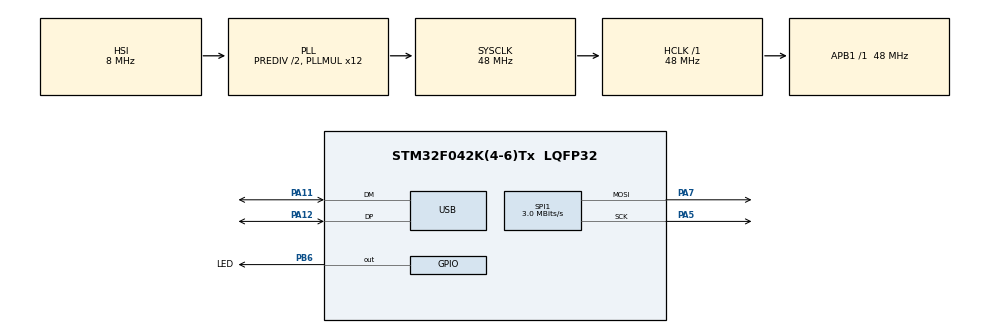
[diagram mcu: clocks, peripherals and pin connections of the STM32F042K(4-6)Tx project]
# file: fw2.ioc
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Mcu.Family=STM32F0
Mcu.Name=STM32F042K(4-6)Tx
Mcu.Package=LQFP32
NVIC.SPI1_IRQn=true\:0\:0\:false\:false\:true\:true\:true\:true
NVIC.TIM2_IRQn=true\:0\:0\:false\:false\:true\:true\:true\:true
NVIC.USB_IRQn=true\:0\:0\:false\:false\:true\:false\:true\:true
PA11.Mode=Device
PA11.Signal=USB_DM
PA12.Mode=Device
PA12.Signal=USB_DP
PA13.Mode=Serial_Wire
PA13.Signal=SYS_SWDIO
PA14.Mode=Serial_Wire
PA14.Signal=SYS_SWCLK
PA5.Mode=TX_Only_Simplex_Unidirect_Master
PA5.Signal=SPI1_SCK
PA7.Mode=TX_Only_Simplex_Unidirect_Master
PA7.Signal=SPI1_MOSI
PB6.GPIO_Label=LED
PB6.Signal=GPIO_Output
ProjectManager.HeapSize=0x400
ProjectManager.StackSize=0x100
ProjectManager.TargetToolchain=Makefile
RCC.AHBFreq_Value=48000000
RCC.APB1Freq_Value=48000000
RCC.APB1TimFreq_Value=48000000
RCC.HCLKFreq_Value=48000000
RCC.PLLDivider=RCC_PREDIV_DIV2
RCC.PLLMUL=RCC_PLL_MUL12
RCC.SYSCLKFreq_VALUE=48000000
RCC.SYSCLKSource=RCC_SYSCLKSOURCE_PLLCLK
RCC.USBFreq_Value=48000000
SPI1.BaudRatePrescaler=SPI_BAUDRATEPRESCALER_16
SPI1.CalculateBaudRate=3.0 MBits/s
SPI1.DataSize=SPI_DATASIZE_8BIT
SPI1.Direction=SPI_DIRECTION_2LINES
SPI1.Mode=SPI_MODE_MASTER
SPI1.VirtualType=VM_MASTER
TIM2.Period=1500
TIM2.Prescaler=999
USB.low_power_enable=DISABLE
USB.lpm_enable=ENABLE
USB_DEVICE.APP_RX_DATA_SIZE=550
USB_DEVICE.APP_TX_DATA_SIZE=100
USB_DEVICE.CLASS_NAME_FS=CDC
USB_DEVICE.MANUFACTURER_STRING=Steinmetz
USB_DEVICE.PID_CDC_FS=65262
USB_DEVICE.PRODUCT_STRING_CDC_FS=Steinmetz
USB_DEVICE.USBD_DEBUG_LEVEL=3
USB_DEVICE.USBD_MAX_NUM_INTERFACES=2
USB_DEVICE.USBD_MAX_STR_DESC_SIZ=100
USB_DEVICE.USBD_SELF_POWERED=0
USB_DEVICE.VirtualMode=Cdc
USB_DEVICE.VirtualModeFS=Cdc_FS
VP_RCC_USB.Mode=CRS SYNC Source USB
VP_TIM2_VS_ClockSourceINT.Mode=Internal
VP_USB_DEVICE_VS_USB_DEVICE_CDC_FS.Mode=CDC_FS
board=custom

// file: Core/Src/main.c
/* USER CODE BEGIN Header */
/**
  ******************************************************************************
  * @file           : main.c
  * @brief          : Main program body
  ******************************************************************************
  * @attention
  *
  * Copyright (c) 2024 STMicroelectronics.
  * All rights reserved.
  *
  * This software is licensed under terms that can be found in the LICENSE file
  * in the root directory of this software component.
  * If no LICENSE file comes with this software, it is provided AS-IS.
  *
  ******************************************************************************
  */
/* USER CODE END Header */
#include "main.h"
#include "usb_device.h"

/* USER CODE BEGIN Includes */
#include "ws2811.h"
#include "usbd_cdc_if.h"
/* USER CODE END Includes */

/* USER CODE BEGIN PTD */

typedef enum {
	USB_CONTROL_ACK = 0x77,
	USB_CONTROL_DATA = 0x55,
} usb_control_E;

/* USER CODE END PTD */

 SPI_HandleTypeDef hspi1;

TIM_HandleTypeDef htim2;

void SystemClock_Config(void);
static void MX_GPIO_Init(void);
static void MX_SPI1_Init(void);
static void MX_TIM2_Init(void);

/* USER CODE BEGIN 0 */
static uint8_t ack_rsp[2] ={0x48, 0x49};

static void parse_data(uint8_t* buf, uint32_t len) {
	uint8_t t = buf[1];
	uint8_t led_index = buf[2];
	uint8_t num_leds = buf[3];
	ws2811_parse_buffer(&buf[4], led_index, num_leds, t);
}

void usb_callback(uint8_t* buf, uint32_t* len) {
	uint32_t l = *len;
	if (l >= 1) {
		uint8_t control = buf[0];
		switch (control) {
			case(USB_CONTROL_DATA): {
				parse_data(buf, l);
				break;
			}
			case(USB_CONTROL_ACK): {
				CDC_Transmit_FS(ack_rsp, sizeof(ack_rsp));
				break;
			}
			default:
				break;
		}
	}
}
/* USER CODE END 0 */

int main(void)
{

  /* MCU Configuration--------------------------------------------------------*/

  /* Reset of all peripherals, Initializes the Flash interface and the Systick. */
  HAL_Init();

  /* Configure the system clock */
  SystemClock_Config();

  /* Initialize all configured peripherals */
  MX_GPIO_Init();
  MX_SPI1_Init();
  MX_USB_DEVICE_Init();
  MX_TIM2_Init();
  /* USER CODE BEGIN 2 */

HAL_GPIO_WritePin(LED_GPIO_Port, LED_Pin, GPIO_PIN_SET);
  if (HAL_TIM_Base_Start_IT(&htim2) != HAL_OK)
  {
    Error_Handler();
  }
  static led_code_S buff[WS2811_BUFF_LEN][NUMBER_LEDS];
  for(uint32_t i = 0; i < WS2811_BUFF_LEN; i++) {
	for(uint32_t j = 0; j < NUMBER_LEDS;j++) {
		buff[i][j].red = i == 0 ? 20 : 0;
		buff[i][j].blue = 0;
		buff[i][j].green = 0;
	}
  }
  /* USER CODE END 2 */

  /* Infinite loop */
  while (1)
  {

    /* USER CODE BEGIN 3 */
    HAL_Delay(1000);
  }
  /* USER CODE END 3 */
}

void SystemClock_Config(void)
{
  RCC_OscInitTypeDef RCC_OscInitStruct = {0};
  RCC_ClkInitTypeDef RCC_ClkInitStruct = {0};
  RCC_PeriphCLKInitTypeDef PeriphClkInit = {0};
  RCC_CRSInitTypeDef RCC_CRSInitStruct = {0};

  /** Initializes the RCC Oscillators according to the specified parameters
  * in the RCC_OscInitTypeDef structure.
  */
  RCC_OscInitStruct.OscillatorType = RCC_OSCILLATORTYPE_HSI|RCC_OSCILLATORTYPE_HSI48;
  RCC_OscInitStruct.HSIState = RCC_HSI_ON;
  RCC_OscInitStruct.HSI48State = RCC_HSI48_ON;
  RCC_OscInitStruct.HSICalibrationValue = RCC_HSICALIBRATION_DEFAULT;
  RCC_OscInitStruct.PLL.PLLState = RCC_PLL_ON;
  RCC_OscInitStruct.PLL.PLLSource = RCC_PLLSOURCE_HSI;
  RCC_OscInitStruct.PLL.PLLMUL = RCC_PLL_MUL12;
  RCC_OscInitStruct.PLL.PREDIV = RCC_PREDIV_DIV2;
  if (HAL_RCC_OscConfig(&RCC_OscInitStruct) != HAL_OK)
  {
    Error_Handler();
  }

  /** Initializes the CPU, AHB and APB buses clocks
  */
  RCC_ClkInitStruct.ClockType = RCC_CLOCKTYPE_HCLK|RCC_CLOCKTYPE_SYSCLK
                              |RCC_CLOCKTYPE_PCLK1;
  RCC_ClkInitStruct.SYSCLKSource = RCC_SYSCLKSOURCE_PLLCLK;
  RCC_ClkInitStruct.AHBCLKDivider = RCC_SYSCLK_DIV1;
  RCC_ClkInitStruct.APB1CLKDivider = RCC_HCLK_DIV1;

  if (HAL_RCC_ClockConfig(&RCC_ClkInitStruct, FLASH_LATENCY_1) != HAL_OK)
  {
    Error_Handler();
  }
  PeriphClkInit.PeriphClockSelection = RCC_PERIPHCLK_USB;
  PeriphClkInit.UsbClockSelection = RCC_USBCLKSOURCE_HSI48;

  if (HAL_RCCEx_PeriphCLKConfig(&PeriphClkInit) != HAL_OK)
  {
    Error_Handler();
  }

  /** Enable the SYSCFG APB clock
  */
  __HAL_RCC_CRS_CLK_ENABLE();

  /** Configures CRS
  */
  RCC_CRSInitStruct.Prescaler = RCC_CRS_SYNC_DIV1;
  RCC_CRSInitStruct.Source = RCC_CRS_SYNC_SOURCE_USB;
  RCC_CRSInitStruct.Polarity = RCC_CRS_SYNC_POLARITY_RISING;
  RCC_CRSInitStruct.ReloadValue = __HAL_RCC_CRS_RELOADVALUE_CALCULATE(48000000,1000);
  RCC_CRSInitStruct.ErrorLimitValue = 34;
  RCC_CRSInitStruct.HSI48CalibrationValue = 32;

  HAL_RCCEx_CRSConfig(&RCC_CRSInitStruct);
}

static void MX_SPI1_Init(void)
{

  /* SPI1 parameter configuration*/
  hspi1.Instance = SPI1;
  hspi1.Init.Mode = SPI_MODE_MASTER;
  hspi1.Init.Direction = SPI_DIRECTION_2LINES;
  hspi1.Init.DataSize = SPI_DATASIZE_8BIT;
  hspi1.Init.CLKPolarity = SPI_POLARITY_LOW;
  hspi1.Init.CLKPhase = SPI_PHASE_1EDGE;
  hspi1.Init.NSS = SPI_NSS_SOFT;
  hspi1.Init.BaudRatePrescaler = SPI_BAUDRATEPRESCALER_16;
  hspi1.Init.FirstBit = SPI_FIRSTBIT_MSB;
  hspi1.Init.TIMode = SPI_TIMODE_DISABLE;
  hspi1.Init.CRCCalculation = SPI_CRCCALCULATION_DISABLE;
  hspi1.Init.CRCPolynomial = 7;
  hspi1.Init.CRCLength = SPI_CRC_LENGTH_DATASIZE;
  hspi1.Init.NSSPMode = SPI_NSS_PULSE_ENABLE;
  if (HAL_SPI_Init(&hspi1) != HAL_OK)
  {
    Error_Handler();
  }

}

static void MX_TIM2_Init(void)
{

  TIM_ClockConfigTypeDef sClockSourceConfig = {0};
  TIM_MasterConfigTypeDef sMasterConfig = {0};

  htim2.Instance = TIM2;
  htim2.Init.Prescaler = 999;
  htim2.Init.CounterMode = TIM_COUNTERMODE_UP;
  htim2.Init.Period = 1500;
  htim2.Init.ClockDivision = TIM_CLOCKDIVISION_DIV1;
  htim2.Init.AutoReloadPreload = TIM_AUTORELOAD_PRELOAD_DISABLE;
  if (HAL_TIM_Base_Init(&htim2) != HAL_OK)
  {
    Error_Handler();
  }
  sClockSourceConfig.ClockSource = TIM_CLOCKSOURCE_INTERNAL;
  if (HAL_TIM_ConfigClockSource(&htim2, &sClockSourceConfig) != HAL_OK)
  {
    Error_Handler();
  }
  sMasterConfig.MasterOutputTrigger = TIM_TRGO_RESET;
  sMasterConfig.MasterSlaveMode = TIM_MASTERSLAVEMODE_DISABLE;
  if (HAL_TIMEx_MasterConfigSynchronization(&htim2, &sMasterConfig) != HAL_OK)
  {
    Error_Handler();
  }

}

static void MX_GPIO_Init(void)
{
  GPIO_InitTypeDef GPIO_InitStruct = {0};

  /* GPIO Ports Clock Enable */
  __HAL_RCC_GPIOA_CLK_ENABLE();
  __HAL_RCC_GPIOB_CLK_ENABLE();

  /*Configure GPIO pin Output Level */
  HAL_GPIO_WritePin(LED_GPIO_Port, LED_Pin, GPIO_PIN_RESET);

  /*Configure GPIO pin : LED_Pin */
  GPIO_InitStruct.Pin = LED_Pin;
  GPIO_InitStruct.Mode = GPIO_MODE_OUTPUT_PP;
  GPIO_InitStruct.Pull = GPIO_NOPULL;
  GPIO_InitStruct.Speed = GPIO_SPEED_FREQ_LOW;
  HAL_GPIO_Init(LED_GPIO_Port, &GPIO_InitStruct);

}

void Error_Handler(void)
{
  __disable_irq();
  while (1)
  {
  }
}
